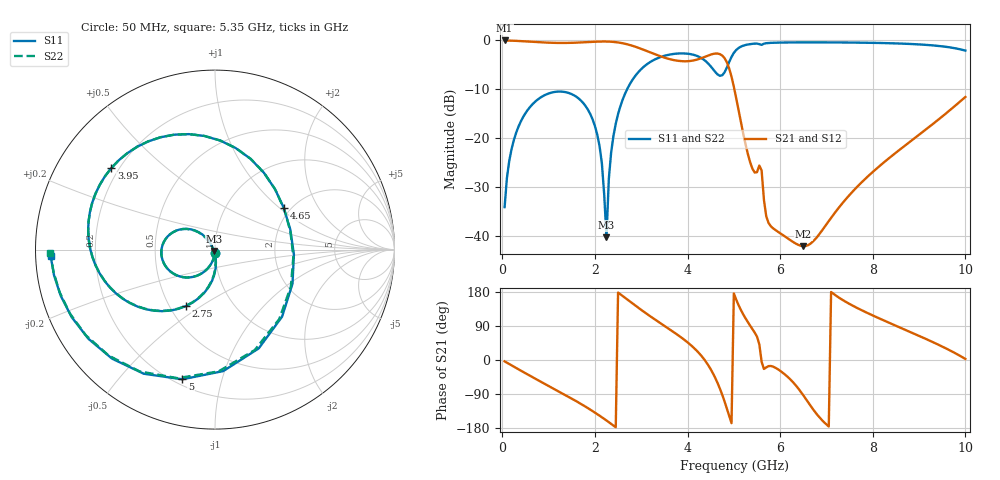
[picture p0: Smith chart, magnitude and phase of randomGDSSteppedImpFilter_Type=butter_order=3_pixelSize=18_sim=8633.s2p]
! freq	dB(S11)	phase(S11)	dB(S12)	phase(S12)
!  dB(S21)	phase(S21)	dB(S22)	phase(S22)
!S-par simulation data
#  GHz  S  DB  R 50
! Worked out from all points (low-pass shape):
!   200 points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, 50 MHz to 10 GHz, reference 50 ohm
!   highest |S21| = -0.01 dB at 50 MHz (marker M1); lowest = -42.1 dB at 6.5 GHz (marker M2)
!   |S21| within 3 dB of the highest: start of sweep to 3.346 GHz; 4.47 GHz to 4.734 GHz (263.6 MHz wide, 5.73 % of centre)
!   lowest |S11| = -40.3 dB at 2.25 GHz (marker M3), VSWR 1.02, Z = 49.4 - j0.735 ohm
!   |S11| at or under -10 dB: start of sweep to 2.695 GHz
!   |S22| runs from -39.2 to -0.4 dB; largest |S21 - S12| = 0
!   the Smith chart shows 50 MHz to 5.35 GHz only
!   S11 on the Smith chart (normalised r, x): 50 MHz: 1.00, -0.04; 2.75 GHz: 0.60, -0.43; 3.95 GHz: 0.17, +0.34; 4.65 GHz: 1.84, +1.07; 5 GHz: 0.23, -0.75; 5.35 GHz: 0.04, -0.02
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0.05  -34.11 -93.3  -0.01 -3.6  -0.01 -3.6  -34.11 -93.3
0.2  -22.23 -104.3  -0.05 -14.2  -0.05 -14.2  -22.23 -104.3
0.55  -14.21 -128.8  -0.22 -38.4  -0.22 -38.4  -14.21 -128.8
1.75  -12.84 150.8  -0.39 -119.6  -0.39 -119.6  -12.84 151.0
2.1  -21.62 127.0  -0.23 -146.9  -0.23 -146.9  -21.60 127.9
2.25  -40.32 -129.5  -0.23 -159.6  -0.23 -159.6  -39.23 -133.5
2.4  -19.54 -88.2  -0.30 -172.9  -0.30 -172.9  -19.53 -89.2
2.75  -9.01 -117.2  -0.92 154.9  -0.92 154.9  -9.01 -117.6
3.4  -3.46 -172.5  -3.19 98.3  -3.19 98.3  -3.46 -172.7
3.95  -2.68 141.9  -4.27 51.5  -4.27 51.5  -2.68 141.8
4.4  -4.31 87.4  -3.26 -5.1  -3.26 -5.1  -4.32 87.2
4.65  -6.97 31.2  -2.69 -61.1  -2.69 -61.1  -7.01 30.2
4.85  -5.54 -45.0  -4.49 -128.3  -4.49 -128.3  -5.56 -47.3
5  -2.55 -104.2  -9.48 175.6  -9.48 175.6  -2.55 -106.2
5.05  -1.97 -119.9  -11.78 159.6  -11.78 159.6  -1.96 -121.7
5.35  -0.76 -177.7  -24.87 90.9  -24.87 90.9  -0.75 -178.9
5.6  -0.91 157.7  -26.60 -4.9  -26.60 -4.9  -0.87 156.6
5.75  -0.52 146.4  -37.36 -16.1  -37.36 -16.1  -0.52 145.3
6.5  -0.40 103.1  -42.10 -93.1  -42.10 -93.1  -0.40 102.3
6.7  -0.39 93.4  -41.22 -128.3  -41.22 -128.3  -0.39 92.6
8.35  -0.57 18.8  -24.10 98.4  -24.10 98.4  -0.57 18.0
10  -2.08 -65.9  -11.57 2.8  -11.57 2.8  -2.09 -66.6
